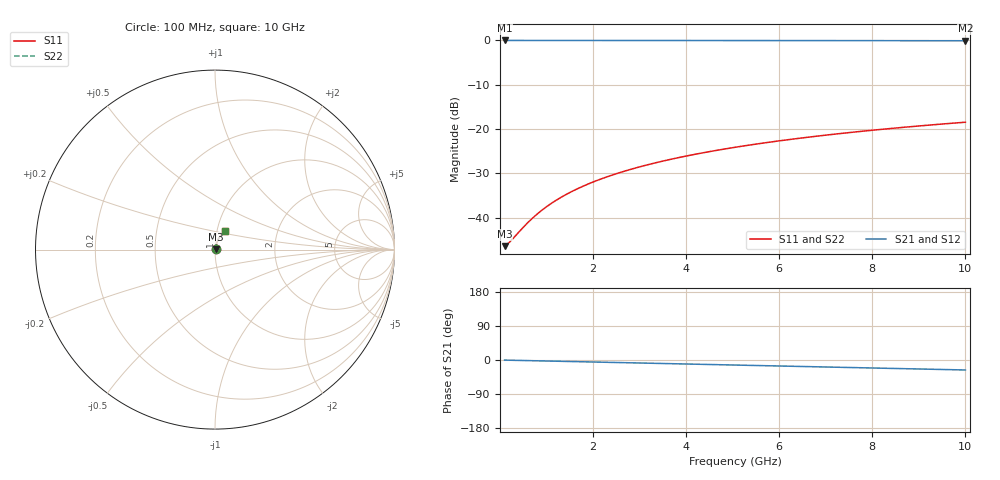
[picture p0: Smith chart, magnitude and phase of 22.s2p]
# Hz S RI R 50.00
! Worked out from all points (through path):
!   100 points, 100 MHz to 10 GHz, reference 50 ohm
!   highest |S21| = -0.04 dB at 100 MHz (marker M1); lowest = -0.1 dB at 10 GHz (marker M2)
!   group delay of S21, straight-line fit = 7.32 ps
!   lowest |S11| = -46.5 dB at 100 MHz (marker M3), VSWR 1.01, Z = 50.5 + j0.123 ohm
!   |S11| at or under -10 dB: start of sweep to end of sweep
!   |S22| runs from -46.5 to -18.5 dB; largest |S21 - S12| = 0
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1e8  0.00459 0.00122  0.9954 -0.00458  0.9954 -0.00458  0.00459 0.00122
2e8  0.00464 0.00243  0.9953 -0.00916  0.9953 -0.00916  0.00464 0.00243
5e8  0.0048 0.00607  0.995 -0.0229  0.995 -0.0229  0.0048 0.00607
6e8  0.00488 0.00729  0.9949 -0.0275  0.9949 -0.0275  0.00488 0.00729
7e8  0.00496 0.0085  0.9947 -0.0321  0.9947 -0.0321  0.00496 0.0085
9e8  0.00516 0.0109  0.9943 -0.0412  0.9943 -0.0412  0.00516 0.0109
1.1e9  0.0054 0.0133  0.9939 -0.0504  0.9939 -0.0504  0.0054 0.0133
1.3e9  0.00568 0.0157  0.9933 -0.0595  0.9933 -0.0595  0.00568 0.0157
1.5e9  0.00601 0.0182  0.9927 -0.0687  0.9927 -0.0687  0.00601 0.0182
1.8e9  0.00658 0.0218  0.9915 -0.0823  0.9915 -0.0823  0.00658 0.0218
2.1e9  0.00725 0.0253  0.9902 -0.096  0.9902 -0.096  0.00725 0.0253
2.5e9  0.00829 0.0301  0.9881 -0.1142  0.9881 -0.1142  0.00829 0.0301
2.9e9  0.00951 0.0348  0.9856 -0.1324  0.9856 -0.1324  0.00951 0.0348
3.4e9  0.0113 0.0406  0.982 -0.155  0.982 -0.155  0.0113 0.0406
3.8e9  0.0129 0.0451  0.9788 -0.173  0.9788 -0.173  0.0129 0.0451
4.2e9  0.0146 0.0497  0.9752 -0.1909  0.9752 -0.1909  0.0146 0.0497
5.1e9  0.0192 0.0595  0.9658 -0.231  0.9658 -0.231  0.0192 0.0595
5.9e9  0.0239 0.068  0.956 -0.2662  0.956 -0.2662  0.0239 0.068
6.7e9  0.0293 0.076  0.9448 -0.3009  0.9448 -0.3009  0.0293 0.076
7.5e9  0.0352 0.0837  0.9324 -0.3351  0.9324 -0.3351  0.0352 0.0837
8.4e9  0.0425 0.0917  0.9168 -0.3729  0.9168 -0.3729  0.0425 0.0917
1e10  0.057 0.1044  0.8852 -0.4382  0.8852 -0.4382  0.057 0.1044
